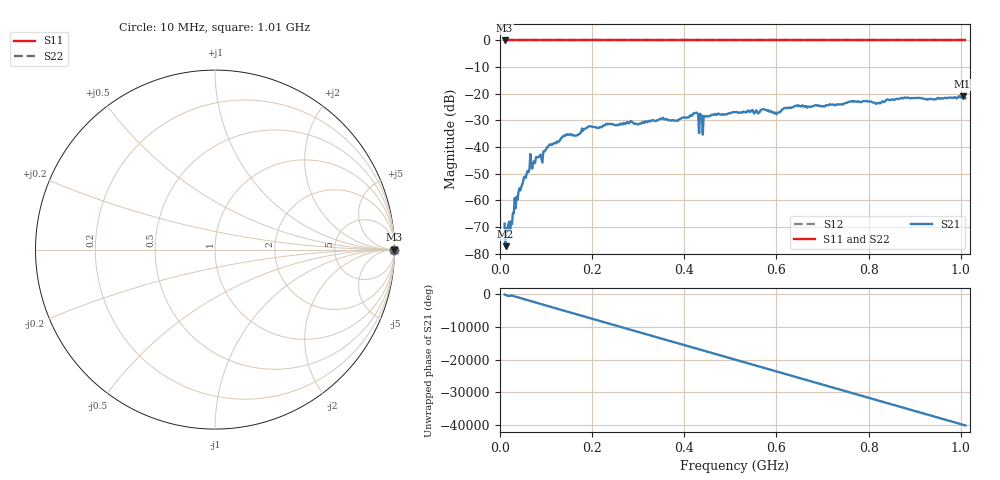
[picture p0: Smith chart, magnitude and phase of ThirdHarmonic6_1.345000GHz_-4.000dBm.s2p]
! 8/16/2025 3:06:26 PM
! C:\ANRITSUVNA\TEMP\TEMP.S2P
! CHANNEL.1
! TR.MEASUREMENT
! RAW.DATA
! RF.CORRECTION.OFF
! AVERAGING.OFF
! IF.BANDWIDTH: 5KHZ
! SWEEPTYPE:  FREQ.SWEEP(Linear)
! Reference Plane Port Info
! PORT:  PORT1  PORT2
! DISTANCE:  0  m  0  m
! TIME:  0  s  0  s
! PHASE.OFFSET:  0  deg.  0  deg.
! LOSS:  0  dB  0  dB
! REF.LOSS:  0  dB  0  dB
! REF.FREQ:  0  Hz  0  Hz
! Power Info
! POWER:  -20  dBm  -20  dBm
! EFF.POWER:  -20  dBm  -20  dBm
! SOURCE.ATTEN:  0  dB  0  dB
! TEST.ATTEN:  0  dB  0  dB
# GHZ S RI R 50.0
! FREQ.GHZ  S11RE  S11IM  S21RE  S21IM  S12RE  S12IM  S22RE  S22IM
!; PortSelection: Port_12
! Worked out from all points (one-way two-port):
!   501 points, 10 MHz to 1.01 GHz, reference 50 ohm
!   highest |S21| = -20.90 dB at 1.004 GHz (marker M1); lowest = -77.2 dB at 12 MHz (marker M2)
!   lowest |S11| = 0.0 dB at 10 MHz (marker M3)
!   |S11| at or under -10 dB: nowhere
!   |S22| runs from 0.0 to 0.0 dB; largest |S21 - S12| = 1.1
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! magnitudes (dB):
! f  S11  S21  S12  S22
! 10 MHz  0.0  -68.7  0.0  0.0
! 12 MHz  0.0  -77.2  0.0  0.0
! 26 MHz  0.0  -68.9  0.0  0.0
! 32 MHz  0.0  -59.1  0.0  0.0
! 40 MHz  0.0  -57.0  0.0  0.0
! 70 MHz  0.0  -48.1  0.0  0.0
! 136 MHz  0.0  -36.1  0.0  0.0
! 178 MHz  0.0  -33.0  0.0  0.0
! 194 MHz  0.0  -32.2  0.0  0.0
! 344 MHz  0.0  -29.9  0.0  0.0
! 382 MHz  0.0  -30.0  0.0  0.0
! 424 MHz  0.0  -27.2  0.0  0.0
! 436 MHz  0.0  -27.9  0.0  0.0
! 446 MHz  0.0  -28.4  0.0  0.0
! 510 MHz  0.0  -26.9  0.0  0.0
! 572 MHz  0.0  -25.8  0.0  0.0
! 602 MHz  0.0  -27.1  0.0  0.0
! 644 MHz  0.0  -24.4  0.0  0.0
! 678 MHz  0.0  -24.7  0.0  0.0
! 844 MHz  0.0  -22.3  0.0  0.0
! 1.004 GHz  0.0  -20.9  0.0  0.0
! 1.01 GHz  0.0  -21.6  0.0  0.0
